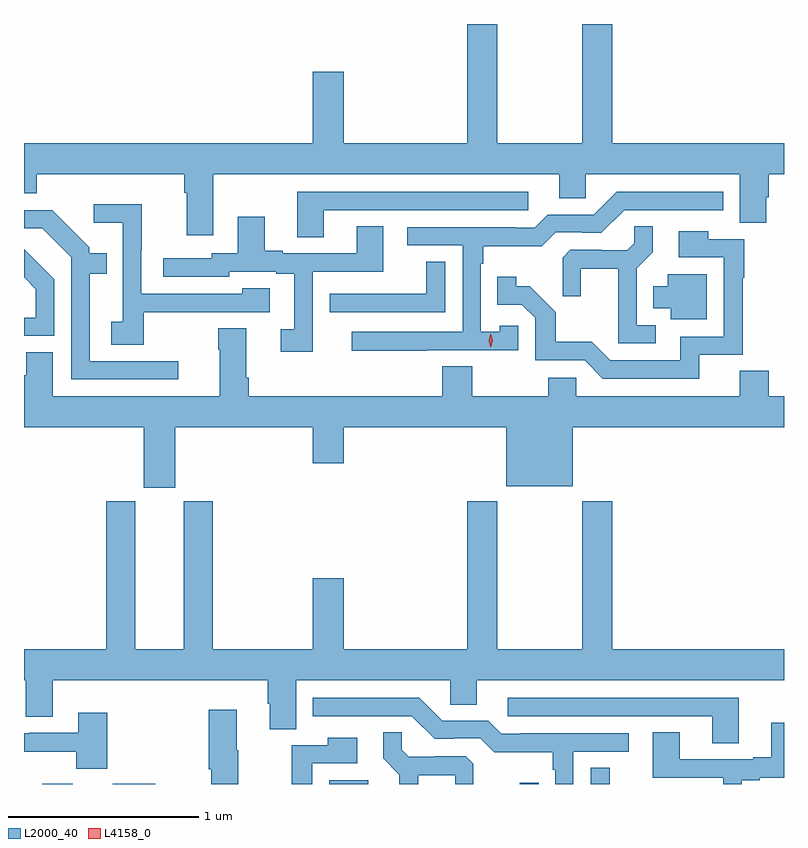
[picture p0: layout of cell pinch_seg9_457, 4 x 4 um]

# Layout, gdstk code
import gdstk
lib = gdstk.Library(unit=1e-6, precision=1e-09)
def R(c, l, rs):  # rectangles x0, y0, x1, y1
    for r in rs: c.add(gdstk.rectangle(r[:2], r[2:], *l))
def P(c, l, *ps):  # polygons
    for p in ps: c.add(gdstk.Polygon(p, *l))
L2000_40 = (2000, 40)
L4158_0 = (4158, 0)

pinch_seg9_457 = lib.new_cell('pinch_seg9_457')
R(pinch_seg9_457, L2000_40, [(379.37,1182.555,379.53,1182.556), (379.74,1182.555,379.963,1182.557), (380.879,1182.555,381.085,1182.574), (381.882,1182.555,381.983,1182.562), (382.257,1182.555,382.356,1182.641)])
P(pinch_seg9_457, L2000_40, [(380.269,1185.764),(382.091,1185.764),(382.091,1185.637),(382.23,1185.637),(382.23,1185.764),(383.039,1185.764),(383.039,1185.508),(383.179,1185.508),(383.179,1185.642),(383.192,1185.642),(383.192,1185.764),(383.273,1185.764),(383.273,1185.928),(382.37,1185.928),(382.37,1186.555),(382.21,1186.555),(382.21,1185.928),(381.765,1185.928),(381.765,1186.555),(381.605,1186.555),(381.605,1185.928),(380.956,1185.928),(380.956,1186.303),(380.792,1186.303),(380.792,1185.928),(379.273,1185.928),(379.273,1185.665),(379.34,1185.665),(379.34,1185.764),(380.117,1185.764),(380.117,1185.668),(380.129,1185.668),(380.129,1185.444),(380.269,1185.444)],
  [(381.389,1184.838),(381.873,1184.838),(381.873,1184.967),(381.777,1184.967),(381.777,1184.935),(381.678,1184.935),(381.678,1185.293),(381.691,1185.293),(381.691,1185.386),(381.998,1185.386),(382.071,1185.459),(382.21,1185.459),(382.21,1185.456),(382.311,1185.456),(382.431,1185.576),(382.954,1185.576),(382.954,1185.672),(382.392,1185.672),(382.272,1185.552),(382.029,1185.552),(381.96,1185.483),(381.86,1185.483),(381.86,1185.486),(381.291,1185.486),(381.291,1185.39),(381.582,1185.39),(381.582,1184.934),(380.997,1184.934),(380.997,1184.836),(381.389,1184.836)],
  [(380.851,1185.576),(381.928,1185.576),(381.928,1185.672),(380.711,1185.672),(380.711,1185.433),(380.851,1185.433)],
  [(379.903,1185.037),(380.207,1185.037),(380.207,1185.039),(380.566,1185.039),(380.566,1185.163),(380.421,1185.163),(380.421,1185.135),(379.89,1185.135),(379.89,1185.368),(379.893,1185.368),(379.893,1185.607),(379.641,1185.607),(379.641,1185.509),(379.794,1185.509),(379.794,1184.988),(379.731,1184.988),(379.731,1184.866),(379.903,1184.866)],
  [(380.086,1184.781),(379.618,1184.781),(379.618,1185.24),(379.709,1185.24),(379.709,1185.349),(379.617,1185.349),(379.617,1185.381),(379.422,1185.576),(379.273,1185.576),(379.273,1185.48),(379.368,1185.48),(379.521,1185.327),(379.521,1184.685),(380.086,1184.685)],
  [(380.793,1185.252),(381.163,1185.252),(381.163,1185.491),(381.023,1185.491),(381.023,1185.348),(380.635,1185.348),(380.635,1185.361),(380.539,1185.361),(380.539,1185.541),(380.399,1185.541),(380.399,1185.348),(380.262,1185.348),(380.262,1185.321),(380.007,1185.321),(380.007,1185.225),(380.352,1185.225),(380.352,1185.252),(380.6,1185.252),(380.6,1185.24),(380.696,1185.24),(380.696,1184.949),(380.625,1184.949),(380.625,1184.829),(380.793,1184.829)],
  [(382.597,1184.97),(382.497,1184.97),(382.497,1185.269),(382.583,1185.355),(382.583,1185.491),(382.485,1185.491),(382.485,1185.4),(382.448,1185.363),(382.314,1185.363),(382.314,1185.366),(382.149,1185.366),(382.108,1185.325),(382.108,1185.123),(382.202,1185.123),(382.202,1185.266),(382.4,1185.266),(382.4,1184.874),(382.597,1184.874)],
  [(382.826,1184.814),(383.057,1184.814),(383.057,1185.22),(383.065,1185.22),(383.065,1185.423),(382.875,1185.423),(382.875,1185.463),(382.719,1185.463),(382.719,1185.327),(382.956,1185.327),(382.956,1184.91),(382.727,1184.91),(382.727,1184.784),(382.359,1184.784),(382.261,1184.883),(382.072,1184.883),(382.072,1185.038),(381.934,1185.176),(381.864,1185.176),(381.864,1185.226),(381.763,1185.226),(381.763,1185.078),(381.894,1185.078),(381.963,1185.009),(381.963,1184.784),(382.224,1184.784),(382.32,1184.688),(382.826,1184.688)],
  [(379.431,1185.211),(379.273,1185.369),(379.273,1185.221),(379.334,1185.16),(379.334,1185.01),(379.273,1185.01),(379.273,1184.913),(379.431,1184.913)],
  [(381.489,1185.305),(381.391,1185.305),(381.391,1185.135),(380.995,1185.135),(380.995,1185.134),(380.883,1185.134),(380.883,1185.039),(381.489,1185.039)],
  [(382.867,1185.238),(382.661,1185.238),(382.661,1185.175),(382.586,1185.175),(382.586,1185.059),(382.676,1185.059),(382.676,1185.002),(382.867,1185.002)],
  [(380.068,1184.432),(380.792,1184.432),(380.792,1184.244),(380.956,1184.244),(380.956,1184.432),(381.812,1184.432),(381.812,1184.123),(382.162,1184.123),(382.162,1184.432),(383.273,1184.432),(383.273,1184.596),(383.192,1184.596),(383.192,1184.729),(383.039,1184.729),(383.039,1184.596),(382.179,1184.596),(382.179,1184.694),(382.033,1184.694),(382.033,1184.596),(381.633,1184.596),(381.633,1184.753),(381.473,1184.753),(381.473,1184.596),(380.456,1184.596),(380.456,1184.692),(380.443,1184.692),(380.443,1184.953),(380.296,1184.953),(380.296,1184.84),(380.303,1184.84),(380.303,1184.596),(379.423,1184.596),(379.423,1184.828),(379.285,1184.828),(379.285,1184.706),(379.273,1184.706),(379.273,1184.432),(379.904,1184.432),(379.904,1184.115),(380.068,1184.115)],
  [(380.707,1183.1),(381.516,1183.1),(381.516,1182.973),(381.655,1182.973),(381.655,1183.1),(383.273,1183.1),(383.273,1183.264),(382.37,1183.264),(382.37,1184.044),(382.21,1184.044),(382.21,1183.264),(381.765,1183.264),(381.765,1184.044),(381.605,1184.044),(381.605,1183.264),(380.956,1183.264),(380.956,1183.639),(380.792,1183.639),(380.792,1183.264),(380.267,1183.264),(380.267,1184.043),(380.114,1184.043),(380.114,1183.264),(379.858,1183.264),(379.858,1184.043),(379.706,1184.043),(379.706,1183.264),(379.273,1183.264),(379.273,1183.1),(379.283,1183.1),(379.283,1182.91),(379.423,1182.91),(379.423,1183.1),(380.555,1183.1),(380.555,1182.978),(380.567,1182.978),(380.567,1182.844),(380.707,1182.844)],
  [(383.035,1183.008),(381.819,1183.008),(381.819,1182.912),(382.895,1182.912),(382.895,1182.769),(383.035,1182.769)],
  [(382.164,1182.726),(382.456,1182.726),(382.456,1182.822),(381.886,1182.822),(381.886,1182.819),(381.786,1182.819),(381.717,1182.888),(381.474,1182.888),(381.354,1183.008),(380.792,1183.008),(380.792,1182.912),(381.315,1182.912),(381.435,1182.792),(381.536,1182.792),(381.536,1182.795),(381.675,1182.795),(381.748,1182.722),(382.056,1182.722),(382.056,1182.629),(382.068,1182.629),(382.068,1182.555),(382.164,1182.555)],
  [(380.4,1182.733),(380.392,1182.733),(380.392,1182.946),(380.246,1182.946),(380.246,1182.633),(380.258,1182.633),(380.258,1182.555),(380.4,1182.555)],
  [(379.712,1182.931),(379.559,1182.931),(379.559,1182.825),(379.303,1182.825),(379.303,1182.822),(379.273,1182.822),(379.273,1182.726),(379.547,1182.726),(379.547,1182.636),(379.712,1182.636)],
  [(383.05,1182.576),(383.146,1182.576),(383.146,1182.588),(383.273,1182.588),(383.273,1182.877),(383.207,1182.877),(383.207,1182.697),(383.111,1182.697),(383.111,1182.684),(382.723,1182.684),(382.723,1182.827),(382.583,1182.827),(382.583,1182.588),(382.953,1182.588),(382.953,1182.555),(383.05,1182.555)],
  [(381.347,1182.602),(381.544,1182.602),(381.544,1182.555),(381.638,1182.555),(381.638,1182.661),(381.597,1182.702),(381.432,1182.702),(381.432,1182.699),(381.298,1182.699),(381.261,1182.736),(381.261,1182.827),(381.163,1182.827),(381.163,1182.691),(381.249,1182.605),(381.249,1182.555),(381.347,1182.555)],
  [(380.79,1182.663),(381.028,1182.663),(381.028,1182.799),(380.872,1182.799),(380.872,1182.759),(380.682,1182.759),(380.682,1182.555),(380.79,1182.555)])
P(pinch_seg9_457, L4158_0, [(381.73,1184.853),(381.73,1184.854),(381.72,1184.889),(381.73,1184.925),(381.73,1184.925),(381.73,1184.925),(381.74,1184.889),(381.73,1184.854)])

lib.write_gds('pinch_seg9_457.gds')
